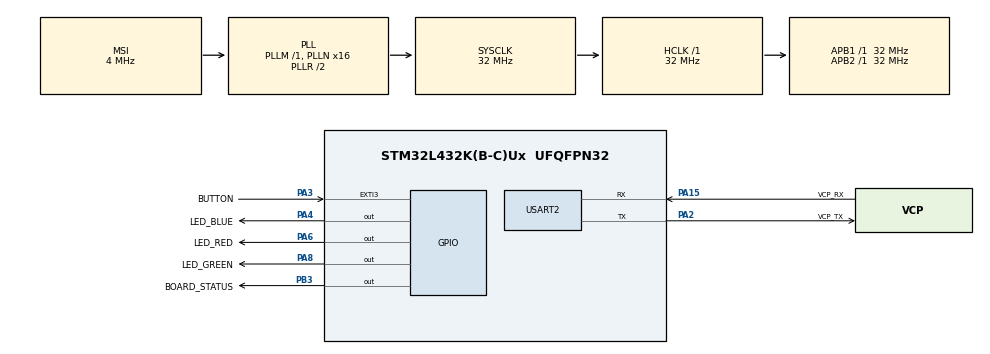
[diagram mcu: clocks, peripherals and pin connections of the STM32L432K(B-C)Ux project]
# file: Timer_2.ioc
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Mcu.Family=STM32L4
Mcu.Name=STM32L432K(B-C)Ux
Mcu.Package=UFQFPN32
NVIC.EXTI3_IRQn=true\:0\:0\:false\:false\:true\:true\:true\:true
NVIC.PriorityGroup=NVIC_PRIORITYGROUP_4
NVIC.TIM6_DAC_IRQn=true\:0\:0\:false\:false\:true\:true\:true\:true
NVIC.TIM7_IRQn=true\:0\:0\:false\:false\:true\:true\:true\:true
PA0.GPIO_Label=MCO [High speed clock in]
PA0.Mode=HSE-External-Clock-Source-for-LittleOrca
PA0.Signal=RCC_CK_IN
PA13\ (JTMS-SWDIO).GPIO_Label=SWDIO
PA13\ (JTMS-SWDIO).Mode=Serial_Wire
PA13\ (JTMS-SWDIO).Signal=SYS_JTMS-SWDIO
PA14\ (JTCK-SWCLK).GPIO_Label=SWCLK
PA14\ (JTCK-SWCLK).Mode=Serial_Wire
PA14\ (JTCK-SWCLK).Signal=SYS_JTCK-SWCLK
PA15\ (JTDI).GPIO_Label=VCP_RX
PA15\ (JTDI).Mode=Asynchronous
PA15\ (JTDI).Signal=USART2_RX
PA2.GPIO_Label=VCP_TX
PA2.Mode=Asynchronous
PA2.Signal=USART2_TX
PA3.GPIO_Label=BUTTON
PA3.Signal=GPXTI3
PA4.GPIO_Label=LED_BLUE
PA4.Signal=GPIO_Output
PA6.GPIO_Label=LED_RED
PA6.Signal=GPIO_Output
PA8.GPIO_Label=LED_GREEN
PA8.Signal=GPIO_Output
PB3\ (JTDO-TRACESWO).GPIO_Label=BOARD_STATUS
PB3\ (JTDO-TRACESWO).Signal=GPIO_Output
PC14-OSC32_IN\ (PC14).Mode=LSE-External-Oscillator
PC14-OSC32_IN\ (PC14).Signal=RCC_OSC32_IN
PC15-OSC32_OUT\ (PC15).Mode=LSE-External-Oscillator
PC15-OSC32_OUT\ (PC15).Signal=RCC_OSC32_OUT
ProjectManager.HeapSize=0x200
ProjectManager.StackSize=0x400
ProjectManager.TargetToolchain=STM32CubeIDE
RCC.AHBFreq_Value=32000000
RCC.APB1Freq_Value=32000000
RCC.APB1TimFreq_Value=32000000
RCC.APB2Freq_Value=32000000
RCC.APB2TimFreq_Value=32000000
RCC.CortexFreq_Value=32000000
RCC.HCLKFreq_Value=32000000
RCC.HSE_VALUE=8000000
RCC.HSI16_VALUE=16000000
RCC.HSI48_VALUE=48000000
RCC.HSI_VALUE=16000000
RCC.MSI_VALUE=4000000
RCC.PLLMUL=RCC_PLLMUL_4
RCC.PLLN=16
RCC.SYSCLKFreq_VALUE=32000000
RCC.SYSCLKSource=RCC_SYSCLKSOURCE_PLLCLK
RCC.VCOOutputFreq_Value=64000000
TIM6.AutoReloadPreload=TIM_AUTORELOAD_PRELOAD_DISABLE
TIM6.Period=64535
TIM6.Prescaler=32000-1
TIM7.Prescaler=32000-1
USART2.VirtualMode-Asynchronous=VM_ASYNC
VP_TIM2_VS_ClockSourceINT.Mode=Internal
VP_TIM6_VS_ClockSourceINT.Mode=Enable_Timer
VP_TIM7_VS_ClockSourceINT.Mode=Enable_Timer
board=NUCLEO-L432KC

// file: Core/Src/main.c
/* USER CODE BEGIN Header */
/**
  ******************************************************************************
  * @file           : main.c
  * @brief          : Main program body
  ******************************************************************************
  * @attention
  *
  * Copyright (c) 2023 STMicroelectronics.
  * All rights reserved.
  *
  * This software is licensed under terms that can be found in the LICENSE file
  * in the root directory of this software component.
  * If no LICENSE file comes with this software, it is provided AS-IS.
  *
  ******************************************************************************
  */
/* USER CODE END Header */
#include "main.h"

/* USER CODE BEGIN Includes */
//LIB
#include "String.h"
//OWN
int buttonPressed = 0;
#include "debug_functions.h"
#include "timer_functions.h"
#include "stdbool.h"
/* USER CODE END Includes */

TIM_HandleTypeDef htim2;
TIM_HandleTypeDef htim6;
TIM_HandleTypeDef htim7;

UART_HandleTypeDef huart2;

void SystemClock_Config(void);
static void MX_GPIO_Init(void);
static void MX_USART2_UART_Init(void);
static void MX_TIM6_Init(void);
static void MX_TIM2_Init(void);
static void MX_TIM7_Init(void);

int main(void)
{
  /* MCU Configuration--------------------------------------------------------*/
  /* Reset of all peripherals, Initializes the Flash interface and the Systick. */
  HAL_Init();
  /* Configure the system clock */
  SystemClock_Config();
  /* Initialize all configured peripherals */
  MX_GPIO_Init();
  MX_USART2_UART_Init();
  MX_TIM6_Init();
  MX_TIM2_Init();
  MX_TIM7_Init();

  /* Infinite loop */
  /* USER CODE BEGIN WHILE */
  // Just a friendly neighborhood debug helper statement
  printDebug(&huart2 ,"   New Program Start  \n\n \r");
  //TIM7->SR = 0x0;
#define DELAYTIME_BLOCKING 500
#define DELAYTIME_NONBLOCKING 3000
  while (true)
  {
    /* USER CODE END WHILE */
    /* USER CODE BEGIN 3 */
	//  _tim_timeout_blocking(4000);
	  //for Test with button detection
	  //Default running
	  if(buttonPressed == 0){
		  _tim_timeout_blocking(DELAYTIME_BLOCKING);
	  }else{

		  _tim_timeout_nonblocking_with_callback(DELAYTIME_NONBLOCKING, customCallbackFunction );
		  helperBlink(15, 200);

	  }
	 // HAL_Delay(3000);
	  printDebug(&huart2 ,"  In Main Loop \n\n \r");
  } // End While 1
  /* USER CODE END 3 */
}

void SystemClock_Config(void)
{
  RCC_OscInitTypeDef RCC_OscInitStruct = {0};
  RCC_ClkInitTypeDef RCC_ClkInitStruct = {0};

  /** Configure the main internal regulator output voltage
  */
  if (HAL_PWREx_ControlVoltageScaling(PWR_REGULATOR_VOLTAGE_SCALE1) != HAL_OK)
  {
    Error_Handler();
  }

  /** Configure LSE Drive Capability
  */
  HAL_PWR_EnableBkUpAccess();
  __HAL_RCC_LSEDRIVE_CONFIG(RCC_LSEDRIVE_LOW);

  /** Initializes the RCC Oscillators according to the specified parameters
  * in the RCC_OscInitTypeDef structure.
  */
  RCC_OscInitStruct.OscillatorType = RCC_OSCILLATORTYPE_LSE|RCC_OSCILLATORTYPE_MSI;
  RCC_OscInitStruct.LSEState = RCC_LSE_ON;
  RCC_OscInitStruct.MSIState = RCC_MSI_ON;
  RCC_OscInitStruct.MSICalibrationValue = 0;
  RCC_OscInitStruct.MSIClockRange = RCC_MSIRANGE_6;
  RCC_OscInitStruct.PLL.PLLState = RCC_PLL_ON;
  RCC_OscInitStruct.PLL.PLLSource = RCC_PLLSOURCE_MSI;
  RCC_OscInitStruct.PLL.PLLM = 1;
  RCC_OscInitStruct.PLL.PLLN = 16;
  RCC_OscInitStruct.PLL.PLLP = RCC_PLLP_DIV7;
  RCC_OscInitStruct.PLL.PLLQ = RCC_PLLQ_DIV2;
  RCC_OscInitStruct.PLL.PLLR = RCC_PLLR_DIV2;
  if (HAL_RCC_OscConfig(&RCC_OscInitStruct) != HAL_OK)
  {
    Error_Handler();
  }

  /** Initializes the CPU, AHB and APB buses clocks
  */
  RCC_ClkInitStruct.ClockType = RCC_CLOCKTYPE_HCLK|RCC_CLOCKTYPE_SYSCLK
                              |RCC_CLOCKTYPE_PCLK1|RCC_CLOCKTYPE_PCLK2;
  RCC_ClkInitStruct.SYSCLKSource = RCC_SYSCLKSOURCE_PLLCLK;
  RCC_ClkInitStruct.AHBCLKDivider = RCC_SYSCLK_DIV1;
  RCC_ClkInitStruct.APB1CLKDivider = RCC_HCLK_DIV1;
  RCC_ClkInitStruct.APB2CLKDivider = RCC_HCLK_DIV1;

  if (HAL_RCC_ClockConfig(&RCC_ClkInitStruct, FLASH_LATENCY_1) != HAL_OK)
  {
    Error_Handler();
  }

  /** Enable MSI Auto calibration
  */
  HAL_RCCEx_EnableMSIPLLMode();
}

static void MX_TIM2_Init(void)
{

  TIM_ClockConfigTypeDef sClockSourceConfig = {0};
  TIM_MasterConfigTypeDef sMasterConfig = {0};

  htim2.Instance = TIM2;
  htim2.Init.Prescaler = 0;
  htim2.Init.CounterMode = TIM_COUNTERMODE_UP;
  htim2.Init.Period = 4294967295;
  htim2.Init.ClockDivision = TIM_CLOCKDIVISION_DIV1;
  htim2.Init.AutoReloadPreload = TIM_AUTORELOAD_PRELOAD_DISABLE;
  if (HAL_TIM_Base_Init(&htim2) != HAL_OK)
  {
    Error_Handler();
  }
  sClockSourceConfig.ClockSource = TIM_CLOCKSOURCE_INTERNAL;
  if (HAL_TIM_ConfigClockSource(&htim2, &sClockSourceConfig) != HAL_OK)
  {
    Error_Handler();
  }
  sMasterConfig.MasterOutputTrigger = TIM_TRGO_RESET;
  sMasterConfig.MasterSlaveMode = TIM_MASTERSLAVEMODE_DISABLE;
  if (HAL_TIMEx_MasterConfigSynchronization(&htim2, &sMasterConfig) != HAL_OK)
  {
    Error_Handler();
  }

}

static void MX_TIM6_Init(void)
{

  TIM_MasterConfigTypeDef sMasterConfig = {0};

  htim6.Instance = TIM6;
  htim6.Init.Prescaler = 32000-1;
  htim6.Init.CounterMode = TIM_COUNTERMODE_UP;
  htim6.Init.Period = 64535;
  htim6.Init.AutoReloadPreload = TIM_AUTORELOAD_PRELOAD_DISABLE;
  if (HAL_TIM_Base_Init(&htim6) != HAL_OK)
  {
    Error_Handler();
  }
  sMasterConfig.MasterOutputTrigger = TIM_TRGO_RESET;
  sMasterConfig.MasterSlaveMode = TIM_MASTERSLAVEMODE_DISABLE;
  if (HAL_TIMEx_MasterConfigSynchronization(&htim6, &sMasterConfig) != HAL_OK)
  {
    Error_Handler();
  }

}

static void MX_TIM7_Init(void)
{

  TIM_MasterConfigTypeDef sMasterConfig = {0};

  htim7.Instance = TIM7;
  htim7.Init.Prescaler = 32000-1;
  htim7.Init.CounterMode = TIM_COUNTERMODE_UP;
  htim7.Init.Period = 65535;
  htim7.Init.AutoReloadPreload = TIM_AUTORELOAD_PRELOAD_DISABLE;
  if (HAL_TIM_Base_Init(&htim7) != HAL_OK)
  {
    Error_Handler();
  }
  sMasterConfig.MasterOutputTrigger = TIM_TRGO_RESET;
  sMasterConfig.MasterSlaveMode = TIM_MASTERSLAVEMODE_DISABLE;
  if (HAL_TIMEx_MasterConfigSynchronization(&htim7, &sMasterConfig) != HAL_OK)
  {
    Error_Handler();
  }

}

static void MX_USART2_UART_Init(void)
{

  huart2.Instance = USART2;
  huart2.Init.BaudRate = 115200;
  huart2.Init.WordLength = UART_WORDLENGTH_8B;
  huart2.Init.StopBits = UART_STOPBITS_1;
  huart2.Init.Parity = UART_PARITY_NONE;
  huart2.Init.Mode = UART_MODE_TX_RX;
  huart2.Init.HwFlowCtl = UART_HWCONTROL_NONE;
  huart2.Init.OverSampling = UART_OVERSAMPLING_16;
  huart2.Init.OneBitSampling = UART_ONE_BIT_SAMPLE_DISABLE;
  huart2.AdvancedInit.AdvFeatureInit = UART_ADVFEATURE_NO_INIT;
  if (HAL_UART_Init(&huart2) != HAL_OK)
  {
    Error_Handler();
  }

}

static void MX_GPIO_Init(void)
{
  GPIO_InitTypeDef GPIO_InitStruct = {0};

  /* GPIO Ports Clock Enable */
  __HAL_RCC_GPIOC_CLK_ENABLE();
  __HAL_RCC_GPIOA_CLK_ENABLE();
  __HAL_RCC_GPIOB_CLK_ENABLE();

  /*Configure GPIO pin Output Level */
  HAL_GPIO_WritePin(GPIOA, LED_BLUE_Pin|LED_RED_Pin|LED_GREEN_Pin, GPIO_PIN_SET);

  /*Configure GPIO pin Output Level */
  HAL_GPIO_WritePin(BOARD_STATUS_GPIO_Port, BOARD_STATUS_Pin, GPIO_PIN_RESET);

  /*Configure GPIO pin : BUTTON_Pin */
  GPIO_InitStruct.Pin = BUTTON_Pin;
  GPIO_InitStruct.Mode = GPIO_MODE_IT_RISING;
  GPIO_InitStruct.Pull = GPIO_NOPULL;
  HAL_GPIO_Init(BUTTON_GPIO_Port, &GPIO_InitStruct);

  /*Configure GPIO pins : LED_BLUE_Pin LED_RED_Pin LED_GREEN_Pin */
  GPIO_InitStruct.Pin = LED_BLUE_Pin|LED_RED_Pin|LED_GREEN_Pin;
  GPIO_InitStruct.Mode = GPIO_MODE_OUTPUT_PP;
  GPIO_InitStruct.Pull = GPIO_NOPULL;
  GPIO_InitStruct.Speed = GPIO_SPEED_FREQ_LOW;
  HAL_GPIO_Init(GPIOA, &GPIO_InitStruct);

  /*Configure GPIO pin : BOARD_STATUS_Pin */
  GPIO_InitStruct.Pin = BOARD_STATUS_Pin;
  GPIO_InitStruct.Mode = GPIO_MODE_OUTPUT_PP;
  GPIO_InitStruct.Pull = GPIO_NOPULL;
  GPIO_InitStruct.Speed = GPIO_SPEED_FREQ_LOW;
  HAL_GPIO_Init(BOARD_STATUS_GPIO_Port, &GPIO_InitStruct);

  /* EXTI interrupt init*/
  HAL_NVIC_SetPriority(EXTI3_IRQn, 0, 0);
  HAL_NVIC_EnableIRQ(EXTI3_IRQn);

}

/* USER CODE BEGIN 4 */
// My Overwriiten Interrupts

	//Button Interrupt -- with crude debouncing
void HAL_GPIO_EXTI_Callback(uint16_t GPIO_Pin){
//	__disable_irq();
//	HAL_SuspendTick();
//

	// Extra logic for correct button determination and pressed again override

	bool pinCorrect = (GPIO_Pin == BUTTON_Pin);
	bool firstState = HAL_GPIO_ReadPin(GPIOB, BUTTON_Pin);
	bool debounceSucessfull = false;

	// Extra logic for Debouncing (very crude, i know but not part of the assignment
	for (int i = 0; i < 100000; ++i) {
				;
			}
	bool secondState = HAL_GPIO_ReadPin(GPIOB, BUTTON_Pin);
	if( secondState == firstState){
		debounceSucessfull = true;
	}

	if(  pinCorrect && (debounceSucessfull) ){
		HAL_GPIO_TogglePin(GPIOB, GPIO_PIN_3);
		//_tim_timeout_blocking(2000);
		//printDebug(&huart2 ,"  button action  \n\n \r");
		if(buttonPressed == 0){
			buttonPressed = 1;
			helperSetAllLedLow();
		}else{
			buttonPressed = 0;
			helperSetAllLedLow();
		}
	}

//	__enable_irq();
//	HAL_ResumeTick();
}

/* USER CODE END 4 */

void Error_Handler(void)
{
  /* USER CODE BEGIN Error_Handler_Debug */
  /* User can add his own implementation to report the HAL error return state */

  __disable_irq();
  printDebug(&huart2 ,"  You done Upsi and stuck in Error handeler  \n\n \r");
  // Toggle Red LED:
  HAL_GPIO_WritePin(GPIOA, LED_RED_Pin, GPIO_PIN_SET);

  while (1)
  {
	  ;
  }
  /* USER CODE END Error_Handler_Debug */
}
